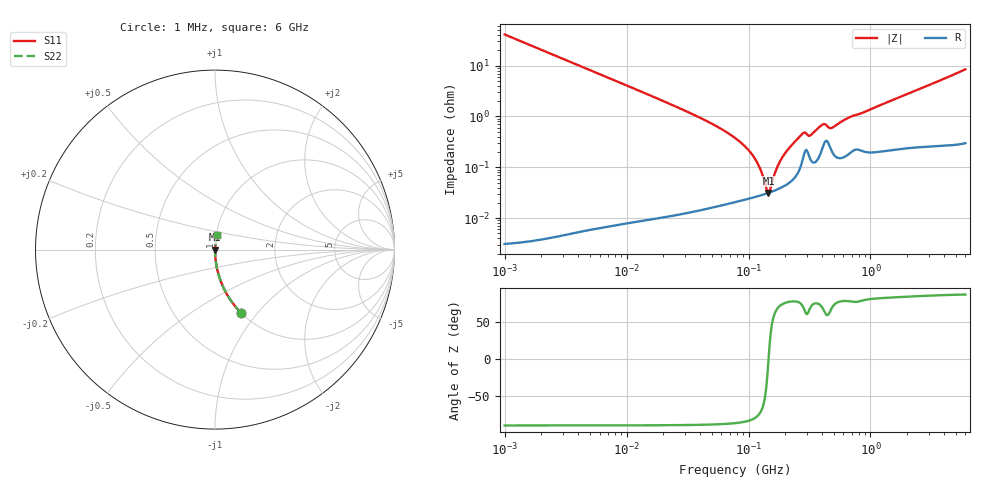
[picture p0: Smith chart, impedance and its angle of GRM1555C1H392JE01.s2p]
!Murata Part Number: GRM1555C1H392JE01
!These Parameters are Measured in Series Mode Connection
!Data Generated on Mar 30, 2021
!  o--ll--o
!Port1  Port2
!  o------o
!Operation Temp=25[degC], DC Bias Voltage=0[V]
!Freq. Start=1000[kHz] Stop=6[GHz] 401[Steps]
# Hz S RI R 50
!Freq.(Hz) S11(Real) S11(Imag) S21(Real) S21(Imag) S12(Real) S12(Imag) S22(Real) S22(Imag)
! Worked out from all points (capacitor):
!   401 points, 1 MHz to 6 GHz, reference 50 ohm
!   read as one part in series: C = 3.88 nF near 1.044 MHz
!   lowest |Z| = 31.4 mohm at 145.5 MHz (marker M1)
!   series resonance near 145.9 MHz, so ESL is about 310 pH
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1000000  0.1443 -0.3513  0.8557 0.3513  0.8557 0.3513  0.1443 -0.3513
1838529  0.0475 -0.2126  0.9525 0.2126  0.9525 0.2126  0.0475 -0.2126
4293785  0.00909 -0.0946  0.9909 0.0946  0.9909 0.0946  0.00909 -0.0946
1.843659e7  0.000578 -0.0219  0.9994 0.0219  0.9994 0.0219  0.000578 -0.0219
4.596069e7  0.000217 -0.008  0.9998 0.008  0.9998 0.008  0.000217 -0.008
7.745967e7  0.00022 -0.00378  0.9998 0.00378  0.9998 0.00378  0.00022 -0.00378
9.627852e7  0.00024 -0.00239  0.9998 0.00239  0.9998 0.00239  0.00024 -0.00239
1.121107e8  0.00026 -0.00149  0.9997 0.00149  0.9997 0.00149  0.00026 -0.00149
1.249896e8  0.000279 -0.000872  0.9997 0.000872  0.9997 0.000872  0.000279 -0.000872
1.39348e8  0.000302 -0.00026  0.9997 0.00026  0.9997 0.00026  0.000302 -0.00026
1.455431e8  0.000313 -1.46e-05  0.9997 1.46e-05  0.9997 1.46e-05  0.000313 -1.46e-05
1.520136e8  0.000325 0.000231  0.9997 -0.000231  0.9997 -0.000231  0.000325 0.000231
1.658303e8  0.000353 0.000728  0.9996 -0.000728  0.9996 -0.000728  0.000353 0.000728
1.770109e8  0.000379 0.00111  0.9996 -0.00111  0.9996 -0.00111  0.000379 0.00111
2.061188e8  0.000463 0.00205  0.9995 -0.00205  0.9995 -0.00205  0.000463 0.00205
2.794814e8  0.0015 0.00444  0.9985 -0.00444  0.9985 -0.00444  0.0015 0.00444
3.325952e8  0.00129 0.00436  0.9987 -0.00436  0.9987 -0.00436  0.00129 0.00436
4.045054e8  0.00244 0.00647  0.9976 -0.00647  0.9976 -0.00647  0.00244 0.00647
4.813793e8  0.00211 0.00556  0.9979 -0.00556  0.9979 -0.00556  0.00211 0.00556
6.670649e8  0.00192 0.00935  0.9981 -0.00935  0.9981 -0.00935  0.00192 0.00935
1.428092e9  0.00253 0.0196  0.9975 -0.0196  0.9975 -0.0196  0.00253 0.0196
6e9  0.01 0.0836  0.99 -0.0836  0.99 -0.0836  0.01 0.0836
